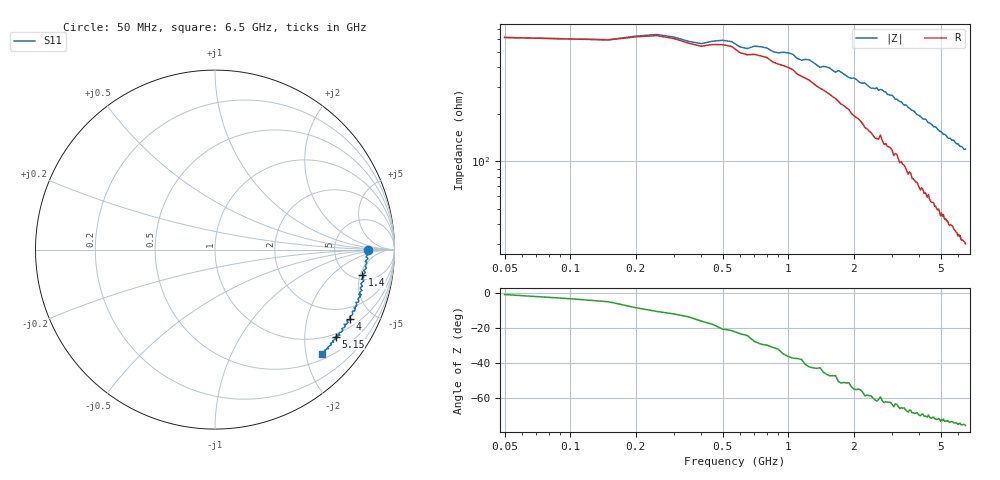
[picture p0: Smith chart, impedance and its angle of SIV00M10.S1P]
! (c) 1999  Infineon Technologies AG, Munich
! Infineon Technologies  Discrete & RF Semiconductors
! BAT24-02LS
! Si Schottky Diode in TSSLP-2
! IF = 0.1 mA
! S-Parameters:  July  2007
# GHz  S  MA  R  50
!  f  S11
! GHz  MAG  ANG
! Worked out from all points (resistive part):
!   130 points, 50 MHz to 6.5 GHz, reference 50 ohm
!   read as one part to ground: R = 617 ohm at 50 MHz
!   S11 on the Smith chart (normalised r, x): 50 MHz: 12, -0; 1.4 GHz: 5.86, -5.38; 4 GHz: 1.35, -3.68; 5.15 GHz: 0.92, -2.83; 6.5 GHz: 0.60, -2.33
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0.05  0.85 -0.1
0.25  0.8581 -1.6
0.4  0.8427 -2.8
0.5  0.8533 -3.4
0.9  0.8417 -6.2
1.25  0.8466 -8.7
1.4  0.8317 -9.8
1.5  0.8425 -10.4
1.65  0.8331 -11.4
1.7  0.8468 -11.7
1.9  0.8343 -13.1
2.5  0.8492 -17.2
2.65  0.8399 -17.1
3.3  0.8456 -21.6
4  0.8464 -27.1
4.1  0.8373 -27.8
4.3  0.8437 -28.9
4.4  0.8308 -30.0
4.5  0.8424 -30.7
4.9  0.8328 -33.7
5  0.8437 -34.4
5.15  0.8279 -35.8
5.25  0.8386 -36.1
5.4  0.8287 -37.7
5.7  0.8333 -39.0
6  0.8394 -41.1
6.15  0.8276 -42.6
6.5  0.8367 -44.3
